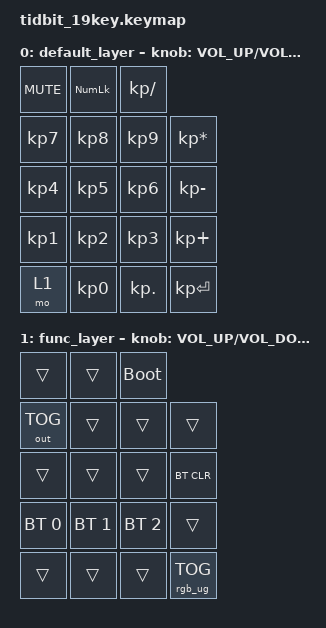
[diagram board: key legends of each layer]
/*
 * Copyright (c) 2020 The ZMK Contributors
 *
 * SPDX-License-Identifier: MIT
 */
 
#include "tidbit.dtsi"
#include <behaviors.dtsi>
#include <dt-bindings/zmk/keys.h>
#include <dt-bindings/zmk/bt.h>
#include <dt-bindings/zmk/outputs.h>
#include <dt-bindings/zmk/rgb.h>

&encoder_1_top_row {
	status = "okay";
};

/ {
	sensors {
		compatible = "zmk,keymap-sensors";
		sensors = <&encoder_1_top_row>;
	};

	keymap {
		compatible = "zmk,keymap";
		
		default_layer {
			bindings = <
						&kp C_MUTE      &kp KP_NUMLOCK  &kp KP_SLASH
				&kp KP_NUMBER_7 &kp KP_NUMBER_8 &kp KP_NUMBER_9 &kp KP_ASTERISK
				&kp KP_NUMBER_4 &kp KP_NUMBER_5 &kp KP_NUMBER_6 &kp KP_MINUS
				&kp KP_NUMBER_1 &kp KP_NUMBER_2 &kp KP_NUMBER_3 &kp KP_PLUS
				&mo 1           &kp KP_NUMBER_0 &kp KP_DOT      &kp KP_ENTER
			>;

			sensor-bindings = <&inc_dec_kp C_VOLUME_UP C_VOLUME_DOWN>;
		};

		 func_layer {
			 bindings = <
						&trans           &trans          &bootloader
				&out OUT_TOG    &trans           &trans          &trans
				&trans          &trans           &trans          &bt BT_CLR
				&bt BT_SEL 0    &bt BT_SEL 1     &bt BT_SEL 2    &trans
				&trans          &trans           &trans          &rgb_ug RGB_TOG
			 >;

			sensor-bindings = <&inc_dec_kp C_VOLUME_UP C_VOLUME_DOWN>;
		 };
	};
};
